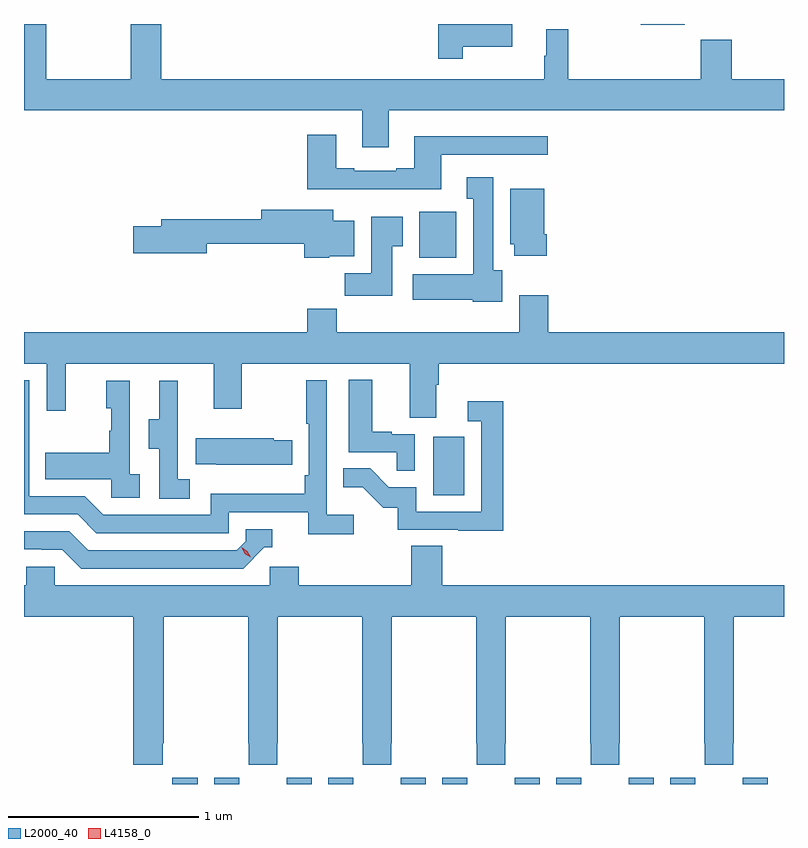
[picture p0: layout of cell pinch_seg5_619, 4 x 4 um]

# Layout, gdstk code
import gdstk
lib = gdstk.Library(unit=1e-6, precision=1e-09)
def R(c, l, rs):  # rectangles x0, y0, x1, y1
    for r in rs: c.add(gdstk.rectangle(r[:2], r[2:], *l))
def P(c, l, *ps):  # polygons
    for p in ps: c.add(gdstk.Polygon(p, *l))
L2000_40 = (2000, 40)
L4158_0 = (4158, 0)

pinch_seg5_619 = lib.new_cell('pinch_seg5_619')
R(pinch_seg5_619, L2000_40, [(1065.086,867.867,1065.22,867.901), (1065.308,867.867,1065.438,867.901), (1065.69,867.867,1065.82,867.901), (1065.908,867.867,1066.038,867.901), (1066.29,867.867,1066.42,867.901), (1066.508,867.867,1066.638,867.901), (1066.89,867.867,1067.02,867.901), (1067.108,867.867,1067.238,867.901), (1067.49,867.867,1067.62,867.901), (1067.708,867.867,1067.838,867.901), (1068.09,867.867,1068.22,867.901), (1066.46,869.388,1066.624,869.695), (1066.385,870.638,1066.582,870.88), (1067.553,871.864,1067.783,871.867)])
P(pinch_seg5_619, L2000_40, [(1066.615,871.748),(1066.876,871.748),(1066.876,871.867),(1066.486,871.867),(1066.486,871.683),(1066.615,871.683)],
  [(1066.225,871.412),(1068.306,871.412),(1068.306,871.576),(1068.032,871.576),(1068.032,871.784),(1067.867,871.784),(1067.867,871.576),(1067.171,871.576),(1067.171,871.84),(1067.054,871.84),(1067.054,871.7),(1067.043,871.7),(1067.043,871.576),(1065.029,871.576),(1065.029,871.867),(1064.869,871.867),(1064.869,871.576),(1064.424,871.576),(1064.424,871.867),(1064.306,871.867),(1064.306,871.412),(1066.085,871.412),(1066.085,871.218),(1066.225,871.218)],
  [(1066.501,871.179),(1067.062,871.179),(1067.062,871.276),(1066.361,871.276),(1066.361,871.108),(1066.265,871.108),(1066.265,871.095),(1066.045,871.095),(1066.045,871.108),(1065.949,871.108),(1065.949,871.285),(1065.797,871.285),(1065.797,870.998),(1066.501,870.998)],
  [(1066.822,870.57),(1066.777,870.57),(1066.777,871.06),(1066.637,871.06),(1066.637,870.947),(1066.67,870.947),(1066.67,870.55),(1066.353,870.55),(1066.353,870.416),(1066.668,870.416),(1066.668,870.404),(1066.822,870.404)],
  [(1067.057,870.76),(1067.044,870.76),(1067.044,871),(1066.865,871),(1066.865,870.708),(1066.886,870.708),(1066.886,870.648),(1067.057,870.648)],
  [(1065.912,870.644),(1066.045,870.644),(1066.045,870.832),(1065.934,870.832),(1065.934,870.889),(1065.554,870.889),(1065.554,870.839),(1065.029,870.839),(1065.029,870.803),(1064.88,870.803),(1064.88,870.661),(1065.268,870.661),(1065.268,870.711),(1065.782,870.711),(1065.782,870.638),(1065.912,870.638)],
  [(1066.243,870.697),(1066.3,870.697),(1066.3,870.853),(1066.133,870.853),(1066.133,870.556),(1065.994,870.556),(1065.994,870.438),(1066.243,870.438)],
  [(1066.477,869.968),(1066.49,869.968),(1066.49,870.08),(1068.306,870.08),(1068.306,870.244),(1067.066,870.244),(1067.066,870.439),(1066.913,870.439),(1066.913,870.244),(1065.953,870.244),(1065.953,870.368),(1065.797,870.368),(1065.797,870.244),(1064.306,870.244),(1064.306,870.08),(1064.427,870.08),(1064.427,869.832),(1064.525,869.832),(1064.525,870.08),(1065.305,870.08),(1065.305,869.841),(1065.453,869.841),(1065.453,870.08),(1066.337,870.08),(1066.337,869.794),(1066.477,869.794)],
  [(1066.362,869.709),(1066.241,869.709),(1066.241,869.722),(1066.138,869.722),(1066.138,869.995),(1066.016,869.995),(1066.016,869.613),(1066.267,869.613),(1066.267,869.515),(1066.362,869.515)],
  [(1066.042,869.284),(1065.9,869.284),(1065.9,869.992),(1065.792,869.992),(1065.792,869.764),(1065.804,869.764),(1065.804,869.491),(1065.784,869.491),(1065.784,869.395),(1065.288,869.395),(1065.288,869.283),(1064.724,869.283),(1064.625,869.382),(1064.334,869.382),(1064.334,869.991),(1064.306,869.991),(1064.306,869.286),(1064.588,869.286),(1064.687,869.187),(1065.384,869.187),(1065.384,869.298),(1065.803,869.298),(1065.803,869.182),(1066.042,869.182)],
  [(1064.914,869.498),(1064.862,869.498),(1064.862,869.989),(1064.738,869.989),(1064.738,869.844),(1064.764,869.844),(1064.764,869.726),(1064.754,869.726),(1064.754,869.611),(1064.419,869.611),(1064.419,869.471),(1064.766,869.471),(1064.766,869.373),(1064.914,869.373)],
  [(1065.178,869.471),(1065.114,869.471),(1065.114,869.775),(1065.116,869.775),(1065.116,869.989),(1065.017,869.989),(1065.017,869.787),(1064.963,869.787),(1064.963,869.632),(1065.018,869.632),(1065.018,869.368),(1065.178,869.368)],
  [(1066.829,869.881),(1066.641,869.881),(1066.641,869.775),(1066.713,869.775),(1066.713,869.301),(1066.371,869.301),(1066.371,869.43),(1066.226,869.43),(1066.128,869.528),(1065.985,869.528),(1065.985,869.429),(1066.089,869.429),(1066.196,869.322),(1066.273,869.322),(1066.273,869.205),(1066.591,869.205),(1066.591,869.2),(1066.829,869.2)],
  [(1065.719,869.676),(1065.621,869.676),(1065.621,869.686),(1065.211,869.686),(1065.211,869.549),(1065.319,869.549),(1065.319,869.546),(1065.719,869.546)],
  [(1065.57,869.112),(1065.613,869.112),(1065.613,869.208),(1065.474,869.208),(1065.474,869.145),(1065.426,869.097),(1064.643,869.097),(1064.544,869.196),(1064.306,869.196),(1064.306,869.103),(1064.4,869.103),(1064.4,869.1),(1064.507,869.1),(1064.606,869.001),(1065.459,869.001)],
  [(1066.508,869.12),(1066.343,869.12),(1066.343,868.912),(1065.752,868.912),(1065.752,869.01),(1065.6,869.01),(1065.6,868.912),(1064.469,868.912),(1064.469,869.01),(1064.319,869.01),(1064.319,868.912),(1064.306,868.912),(1064.306,868.748),(1064.882,868.748),(1064.882,867.969),(1065.035,867.969),(1065.035,868.081),(1065.042,868.081),(1065.042,868.748),(1065.487,868.748),(1065.487,868.081),(1065.489,868.081),(1065.489,867.969),(1065.639,867.969),(1065.639,868.081),(1065.642,868.081),(1065.642,868.748),(1066.087,868.748),(1066.087,868.081),(1066.089,868.081),(1066.089,867.969),(1066.239,867.969),(1066.239,868.081),(1066.242,868.081),(1066.242,868.748),(1066.687,868.748),(1066.687,868.081),(1066.689,868.081),(1066.689,867.969),(1066.839,867.969),(1066.839,868.081),(1066.842,868.081),(1066.842,868.748),(1067.287,868.748),(1067.287,868.081),(1067.289,868.081),(1067.289,867.969),(1067.439,867.969),(1067.439,868.081),(1067.442,868.081),(1067.442,868.748),(1067.887,868.748),(1067.887,868.081),(1067.889,868.081),(1067.889,867.969),(1068.039,867.969),(1068.039,868.081),(1068.042,868.081),(1068.042,868.748),(1068.306,868.748),(1068.306,868.912),(1066.508,868.912)])
P(pinch_seg5_619, L4158_0, [(1065.499,869.06),(1065.468,869.079),(1065.451,869.112),(1065.451,869.112),(1065.452,869.112),(1065.482,869.093),(1065.499,869.061),(1065.499,869.06)])

lib.write_gds('pinch_seg5_619.gds')
